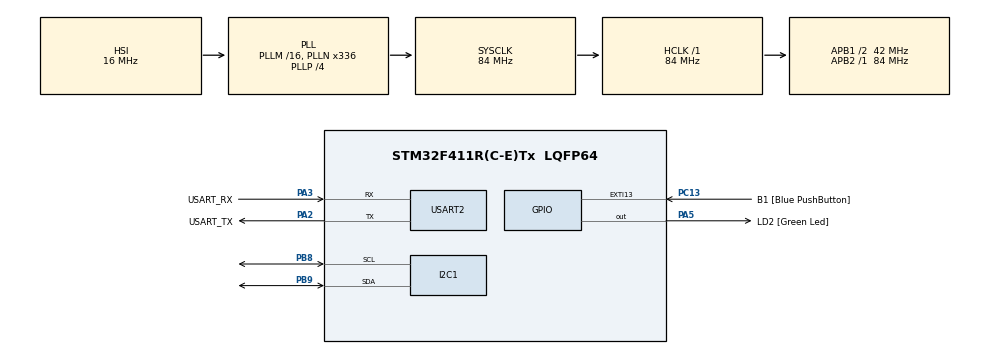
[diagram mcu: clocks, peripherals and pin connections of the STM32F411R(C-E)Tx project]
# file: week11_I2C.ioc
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I2C1.I2C_Mode=I2C_Fast
Mcu.Family=STM32F4
Mcu.Name=STM32F411R(C-E)Tx
Mcu.Package=LQFP64
NVIC.EXTI15_10_IRQn=true\:0\:0\:false\:false\:true\:true\:true\:true
NVIC.I2C1_ER_IRQn=true\:0\:0\:false\:false\:true\:true\:true\:true
NVIC.I2C1_EV_IRQn=true\:0\:0\:false\:false\:true\:true\:true\:true
NVIC.PriorityGroup=NVIC_PRIORITYGROUP_0
PA13.GPIO_Label=TMS
PA13.Mode=Serial_Wire
PA13.Signal=SYS_JTMS-SWDIO
PA14.GPIO_Label=TCK
PA14.Mode=Serial_Wire
PA14.Signal=SYS_JTCK-SWCLK
PA2.GPIO_Label=USART_TX
PA2.Mode=Asynchronous
PA2.Signal=USART2_TX
PA3.GPIO_Label=USART_RX
PA3.Mode=Asynchronous
PA3.Signal=USART2_RX
PA5.GPIO_Label=LD2 [Green Led]
PA5.Signal=GPIO_Output
PB3.GPIO_Label=SWO
PB3.Signal=SYS_JTDO-SWO
PB8.Mode=I2C
PB8.Signal=I2C1_SCL
PB9.Mode=I2C
PB9.Signal=I2C1_SDA
PC13-ANTI_TAMP.GPIO_Label=B1 [Blue PushButton]
PC13-ANTI_TAMP.GPIO_ModeDefaultEXTI=GPIO_MODE_IT_FALLING
PC13-ANTI_TAMP.GPIO_PuPd=GPIO_PULLUP
PC13-ANTI_TAMP.Signal=GPXTI13
PC14-OSC32_IN.Mode=LSE-External-Oscillator
PC14-OSC32_IN.Signal=RCC_OSC32_IN
PC15-OSC32_OUT.Mode=LSE-External-Oscillator
PC15-OSC32_OUT.Signal=RCC_OSC32_OUT
PH0\ -\ OSC_IN.Mode=HSE-External-Clock-Source
PH0\ -\ OSC_IN.Signal=RCC_OSC_IN
PH1\ -\ OSC_OUT.Mode=HSE-External-Clock-Source
PH1\ -\ OSC_OUT.Signal=RCC_OSC_OUT
ProjectManager.HeapSize=0x200
ProjectManager.StackSize=0x400
ProjectManager.TargetToolchain=STM32CubeIDE
RCC.48MHZClocksFreq_Value=84000000
RCC.AHBFreq_Value=84000000
RCC.APB1CLKDivider=RCC_HCLK_DIV2
RCC.APB1Freq_Value=42000000
RCC.APB1TimFreq_Value=84000000
RCC.APB2Freq_Value=84000000
RCC.APB2TimFreq_Value=84000000
RCC.CortexFreq_Value=84000000
RCC.FLatency-AdvancedSettings=FLASH_LATENCY_2
RCC.HCLKFreq_Value=84000000
RCC.HSE_VALUE=8000000
RCC.HSI_VALUE=16000000
RCC.PLLN=336
RCC.PLLP=RCC_PLLP_DIV4
RCC.SYSCLKFreq_VALUE=84000000
RCC.SYSCLKSource=RCC_SYSCLKSOURCE_PLLCLK
RCC.VCOOutputFreq_Value=336000000
USART2.VirtualMode=VM_ASYNC
board=NUCLEO-F411RE

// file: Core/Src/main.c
/* USER CODE BEGIN Header */
/**
  ******************************************************************************
  * @file           : main.c
  * @brief          : Main program body
  ******************************************************************************
  * @attention
  *
  * Copyright (c) 2022 STMicroelectronics.
  * All rights reserved.
  *
  * This software is licensed under terms that can be found in the LICENSE file
  * in the root directory of this software component.
  * If no LICENSE file comes with this software, it is provided AS-IS.
  *
  ******************************************************************************
  */
/* USER CODE END Header */
#include "main.h"

/* USER CODE BEGIN PD */
#define ADDR_EEPROM 0b10100000 // datasheet p9, add 0 lsb to get 8 bit
#define ADDR_IOXT   0b01000000 // datasheet p15
/* USER CODE END PD */

I2C_HandleTypeDef hi2c1;

UART_HandleTypeDef huart2;

/* USER CODE BEGIN PV */
// set these flag != 0 to activate function
uint8_t eeprWrFlag = 0;
uint8_t eeprxWrFlag = 0;
uint8_t eeprRdFlag = 0;
uint8_t ioxtWrFlag = 0;
uint8_t ioxtRdFlag = 0;

uint8_t eprDataRdbk[4];
uint8_t ioxtdataRdBak; // red btn read from I/O A
uint8_t ioxtdataWr = 0b11110101; // write data to I/O B

uint16_t intdbx = 0;
uint8_t stpFlag = 0;
uint32_t timestampA = 0;
static uint8_t myfuncstate = 0;
/* USER CODE END PV */

void SystemClock_Config(void);
static void MX_GPIO_Init(void);
static void MX_USART2_UART_Init(void);
static void MX_I2C1_Init(void);
/* USER CODE BEGIN PFP */
void EEPROMWriteExample();
void EEPROMWriteFunc(uint8_t *Wrdat, uint16_t len);
void EEPROMReadExample(uint8_t *Rdata, uint16_t len);

void IOExpenderInit();
void IOExpenderReadPinA(uint8_t *Rdata);
void IOExpenderWritePinB(uint8_t Wdata);

void mystpfunc();
/* USER CODE END PFP */

int main(void)
{

  /* MCU Configuration--------------------------------------------------------*/

  /* Reset of all peripherals, Initializes the Flash interface and the Systick. */
  HAL_Init();

  /* Configure the system clock */
  SystemClock_Config();

  /* Initialize all configured peripherals */
  MX_GPIO_Init();
  MX_USART2_UART_Init();
  MX_I2C1_Init();
  /* USER CODE BEGIN 2 */
  HAL_Delay(100); // Init reboot
  IOExpenderInit();

  // read data in rom first start
  eeprRdFlag = 1;
  stpFlag = 1;
  /* USER CODE END 2 */

  /* Infinite loop */
  /* USER CODE BEGIN WHILE */
  while (1)
  {
	  //EEPROMWriteExample();
	  EEPROMWriteFunc(&ioxtdataRdBak, 1);
	  //EEPROMReadExample(eprDataRdbk, 4);
	  EEPROMReadExample(&ioxtdataWr, 1);

	  IOExpenderReadPinA(&ioxtdataRdBak);
	  IOExpenderWritePinB(ioxtdataWr); //

	  mystpfunc(&ioxtdataWr);

	  if (HAL_GetTick()-timestampA >= 20){
		  timestampA = HAL_GetTick();
		  /// read rom & Drive LED continuously
		  eeprRdFlag = 1;
		  ioxtWrFlag = 1;

	  }
    /* USER CODE END WHILE */

  }
}

void SystemClock_Config(void)
{
  RCC_OscInitTypeDef RCC_OscInitStruct = {0};
  RCC_ClkInitTypeDef RCC_ClkInitStruct = {0};

  /** Configure the main internal regulator output voltage
  */
  __HAL_RCC_PWR_CLK_ENABLE();
  __HAL_PWR_VOLTAGESCALING_CONFIG(PWR_REGULATOR_VOLTAGE_SCALE1);
  /** Initializes the RCC Oscillators according to the specified parameters
  * in the RCC_OscInitTypeDef structure.
  */
  RCC_OscInitStruct.OscillatorType = RCC_OSCILLATORTYPE_HSI;
  RCC_OscInitStruct.HSIState = RCC_HSI_ON;
  RCC_OscInitStruct.HSICalibrationValue = RCC_HSICALIBRATION_DEFAULT;
  RCC_OscInitStruct.PLL.PLLState = RCC_PLL_ON;
  RCC_OscInitStruct.PLL.PLLSource = RCC_PLLSOURCE_HSI;
  RCC_OscInitStruct.PLL.PLLM = 16;
  RCC_OscInitStruct.PLL.PLLN = 336;
  RCC_OscInitStruct.PLL.PLLP = RCC_PLLP_DIV4;
  RCC_OscInitStruct.PLL.PLLQ = 4;
  if (HAL_RCC_OscConfig(&RCC_OscInitStruct) != HAL_OK)
  {
    Error_Handler();
  }
  /** Initializes the CPU, AHB and APB buses clocks
  */
  RCC_ClkInitStruct.ClockType = RCC_CLOCKTYPE_HCLK|RCC_CLOCKTYPE_SYSCLK
                              |RCC_CLOCKTYPE_PCLK1|RCC_CLOCKTYPE_PCLK2;
  RCC_ClkInitStruct.SYSCLKSource = RCC_SYSCLKSOURCE_PLLCLK;
  RCC_ClkInitStruct.AHBCLKDivider = RCC_SYSCLK_DIV1;
  RCC_ClkInitStruct.APB1CLKDivider = RCC_HCLK_DIV2;
  RCC_ClkInitStruct.APB2CLKDivider = RCC_HCLK_DIV1;

  if (HAL_RCC_ClockConfig(&RCC_ClkInitStruct, FLASH_LATENCY_2) != HAL_OK)
  {
    Error_Handler();
  }
}

static void MX_I2C1_Init(void)
{

  hi2c1.Instance = I2C1;
  hi2c1.Init.ClockSpeed = 400000;
  hi2c1.Init.DutyCycle = I2C_DUTYCYCLE_2;
  hi2c1.Init.OwnAddress1 = 0;
  hi2c1.Init.AddressingMode = I2C_ADDRESSINGMODE_7BIT;
  hi2c1.Init.DualAddressMode = I2C_DUALADDRESS_DISABLE;
  hi2c1.Init.OwnAddress2 = 0;
  hi2c1.Init.GeneralCallMode = I2C_GENERALCALL_DISABLE;
  hi2c1.Init.NoStretchMode = I2C_NOSTRETCH_DISABLE;
  if (HAL_I2C_Init(&hi2c1) != HAL_OK)
  {
    Error_Handler();
  }

}

static void MX_USART2_UART_Init(void)
{

  huart2.Instance = USART2;
  huart2.Init.BaudRate = 115200;
  huart2.Init.WordLength = UART_WORDLENGTH_8B;
  huart2.Init.StopBits = UART_STOPBITS_1;
  huart2.Init.Parity = UART_PARITY_NONE;
  huart2.Init.Mode = UART_MODE_TX_RX;
  huart2.Init.HwFlowCtl = UART_HWCONTROL_NONE;
  huart2.Init.OverSampling = UART_OVERSAMPLING_16;
  if (HAL_UART_Init(&huart2) != HAL_OK)
  {
    Error_Handler();
  }

}

static void MX_GPIO_Init(void)
{
  GPIO_InitTypeDef GPIO_InitStruct = {0};

  /* GPIO Ports Clock Enable */
  __HAL_RCC_GPIOC_CLK_ENABLE();
  __HAL_RCC_GPIOH_CLK_ENABLE();
  __HAL_RCC_GPIOA_CLK_ENABLE();
  __HAL_RCC_GPIOB_CLK_ENABLE();

  /*Configure GPIO pin Output Level */
  HAL_GPIO_WritePin(LD2_GPIO_Port, LD2_Pin, GPIO_PIN_RESET);

  /*Configure GPIO pin : B1_Pin */
  GPIO_InitStruct.Pin = B1_Pin;
  GPIO_InitStruct.Mode = GPIO_MODE_IT_FALLING;
  GPIO_InitStruct.Pull = GPIO_PULLUP;
  HAL_GPIO_Init(B1_GPIO_Port, &GPIO_InitStruct);

  /*Configure GPIO pin : LD2_Pin */
  GPIO_InitStruct.Pin = LD2_Pin;
  GPIO_InitStruct.Mode = GPIO_MODE_OUTPUT_PP;
  GPIO_InitStruct.Pull = GPIO_NOPULL;
  GPIO_InitStruct.Speed = GPIO_SPEED_FREQ_LOW;
  HAL_GPIO_Init(LD2_GPIO_Port, &GPIO_InitStruct);

  /* EXTI interrupt init*/
  HAL_NVIC_SetPriority(EXTI15_10_IRQn, 0, 0);
  HAL_NVIC_EnableIRQ(EXTI15_10_IRQn);

}

/* USER CODE BEGIN 4 */
void EEPROMWriteExample() {
	if (eeprWrFlag && hi2c1.State == HAL_I2C_STATE_READY) {

		static uint8_t datate[4] = { 0x12, 0x88, 0x55, 0xaa }; // data write to eeprom
		HAL_I2C_Mem_Write_IT(&hi2c1, ADDR_EEPROM, 0x2A, I2C_MEMADD_SIZE_16BIT,datate, 4);

		eeprWrFlag = 0;
	}
}

void EEPROMWriteFunc(uint8_t *Wrdat, uint16_t len) {
	if (eeprxWrFlag && hi2c1.State == HAL_I2C_STATE_READY) {

		//static uint8_t datate[4] = { 0x12, 0x88, 0x55, 0xaa }; // data write to eeprom
		//HAL_I2C_Mem_Write_IT(&hi2c1, ADDR_EEPROM, 0x2A, I2C_MEMADD_SIZE_16BIT,datate, 4);
		// write btn data
		HAL_I2C_Mem_Write_IT(&hi2c1, ADDR_EEPROM, 0x60, I2C_MEMADD_SIZE_16BIT,Wrdat, len);
		eeprxWrFlag = 0;
	}
}

// store data from eeprom  into Rdata
void EEPROMReadExample(uint8_t *Rdata, uint16_t len) {
	if (eeprRdFlag && hi2c1.State == HAL_I2C_STATE_READY) {

		HAL_I2C_Mem_Read_IT(&hi2c1, ADDR_EEPROM, 0x60, I2C_MEMADD_SIZE_16BIT,
				Rdata, len);
		//intdbx++;
		eeprRdFlag = 0;
	}
}
void IOExpenderInit() {// call when start system
	//Init All// setting from datasheet p17
	static uint8_t Setting[0x16] = { 0xFF, 0x00, 0x00, 0x00, 0x00, 0x00, 0x00,
			0x00, 0x00, 0x00, 0x00, 0x00, 0xFF, 0x00, 0x00, 0x00, 0x00, 0x00,
			0x00, 0x00, 0x00, 0x00 };
	// OLATB -> Out data for pinB
	HAL_I2C_Mem_Write(&hi2c1, ADDR_IOXT, 0x00, I2C_MEMADD_SIZE_8BIT, Setting,
			0x16, 100);
}
void IOExpenderReadPinA(uint8_t *Rdata) {
	if (ioxtRdFlag && hi2c1.State == HAL_I2C_STATE_READY) {
		HAL_I2C_Mem_Read_IT(&hi2c1, ADDR_IOXT, 0x12, I2C_MEMADD_SIZE_8BIT,
				Rdata, 1);
		ioxtRdFlag = 0;
	}
}
void IOExpenderWritePinB(uint8_t Wdata) {
	if (ioxtWrFlag && hi2c1.State == HAL_I2C_STATE_READY) {
		static uint8_t data;
		data = Wdata;
		HAL_I2C_Mem_Write_IT(&hi2c1, ADDR_IOXT, 0x15, I2C_MEMADD_SIZE_8BIT,
				&data, 1);
		ioxtWrFlag = 0;
	}
}

void mystpfunc(uint8_t *RrWrdata){
	if(stpFlag != 0){
		// set flag up read btn and write led
		// start read rom to logger first
		// btn pressed -> read btn -> write rom
		// do in while gettick -> read rom -> write led

		switch (myfuncstate){
		default:
			break;

		case 1:

			if (hi2c1.State == HAL_I2C_STATE_READY) {
				HAL_I2C_Mem_Read_IT(&hi2c1, ADDR_IOXT, 0x12, I2C_MEMADD_SIZE_8BIT,
							RrWrdata, 1);
				//HAL_I2C_Master_Receive_IT(&hi2c1, ADDR_IOXT, RrWrdata, 1);
				myfuncstate = 2;
			}
			break;

		case 2:
				if (hi2c1.State == HAL_I2C_STATE_READY) {

					HAL_I2C_Mem_Write_IT(&hi2c1, ADDR_EEPROM, 0x60, I2C_MEMADD_SIZE_16BIT,
							RrWrdata, 1);
					//HAL_I2C_Master_Seq_Receive_IT(&hi2c1, ADDR_EEPROM, RrWrdata, 1, unn);
					myfuncstate = 0;
					stpFlag = 0;
				}
			break;
		}//switch case end

	}
}
// interrupt to log data
void HAL_GPIO_EXTI_Callback(uint16_t GPIO_Pin){
	if(GPIO_Pin == GPIO_PIN_13){
		stpFlag = 1;
		myfuncstate = 1;
	}
}
/* USER CODE END 4 */

void Error_Handler(void)
{
  __disable_irq();
  while (1)
  {
  }
}
